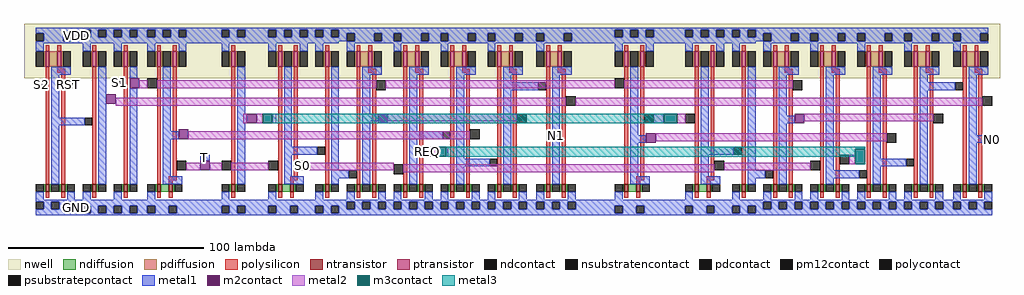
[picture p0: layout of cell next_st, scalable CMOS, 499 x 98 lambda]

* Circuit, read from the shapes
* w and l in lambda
.subckt next_st GND N0 N1 REQ RST S0 S1 S2 T VDD
M1 n2 S2 GND GND nfet w=4 l=2
M2 GND RST n2 GND nfet w=4 l=2
M3 n3 n2 GND GND nfet w=4 l=2
M4 n4 S1 GND GND nfet w=4 l=2
M5 n5 n4 GND GND nfet w=4 l=2
M6 n6 T n5 GND nfet w=4 l=2
M7 n7 T GND GND nfet w=4 l=2
M8 n8 T GND GND nfet w=4 l=2
M9 n9 S0 n8 GND nfet w=4 l=2
M10 n10 n9 GND GND nfet w=4 l=2
M11 n11 n10 GND GND nfet w=4 l=2
M12 GND n4 n11 GND nfet w=4 l=2
M13 n12 S0 GND GND nfet w=4 l=2
M14 GND REQ n12 GND nfet w=4 l=2
M15 n13 n12 GND GND nfet w=4 l=2
M16 GND n6 n13 GND nfet w=4 l=2
M17 n14 n13 GND GND nfet w=4 l=2
M18 GND n11 n14 GND nfet w=4 l=2
M19 N1 n14 GND GND nfet w=4 l=2
M20 GND n3 N1 GND nfet w=4 l=2
M21 n15 n4 GND GND nfet w=4 l=2
M22 n16 n7 n15 GND nfet w=4 l=2
M23 n17 n7 GND GND nfet w=4 l=2
M24 n18 S0 n17 GND nfet w=4 l=2
M25 n19 n18 GND GND nfet w=4 l=2
M26 n20 n19 GND GND nfet w=4 l=2
M27 GND n4 n20 GND nfet w=4 l=2
M28 n21 S0 GND GND nfet w=4 l=2
M29 GND REQ n21 GND nfet w=4 l=2
M30 n22 n21 GND GND nfet w=4 l=2
M31 GND n16 n22 GND nfet w=4 l=2
M32 n23 n22 GND GND nfet w=4 l=2
M33 GND n20 n23 GND nfet w=4 l=2
M34 N0 n23 GND GND nfet w=4 l=2
M35 GND n3 N0 GND nfet w=4 l=2
M36 n24 S2 VDD VDD pfet w=8 l=2
M37 n2 RST n24 VDD pfet w=8 l=2
M38 n3 n2 VDD VDD pfet w=8 l=2
M39 n4 S1 VDD VDD pfet w=8 l=2
M40 n6 n4 VDD VDD pfet w=8 l=2
M41 VDD T n6 VDD pfet w=8 l=2
M42 n7 T VDD VDD pfet w=8 l=2
M43 n9 T VDD VDD pfet w=8 l=2
M44 VDD S0 n9 VDD pfet w=8 l=2
M45 n10 n9 VDD VDD pfet w=8 l=2
M46 n25 n10 VDD VDD pfet w=8 l=2
M47 n11 n4 n25 VDD pfet w=8 l=2
M48 n26 S0 VDD VDD pfet w=8 l=2
M49 n12 REQ n26 VDD pfet w=8 l=2
M50 n27 n12 VDD VDD pfet w=8 l=2
M51 n13 n6 n27 VDD pfet w=8 l=2
M52 n28 n13 VDD VDD pfet w=8 l=2
M53 n14 n11 n28 VDD pfet w=8 l=2
M54 n29 n14 VDD VDD pfet w=8 l=2
M55 N1 n3 n29 VDD pfet w=8 l=2
M56 n16 n4 VDD VDD pfet w=8 l=2
M57 VDD n7 n16 VDD pfet w=8 l=2
M58 n18 n7 VDD VDD pfet w=8 l=2
M59 VDD S0 n18 VDD pfet w=8 l=2
M60 n19 n18 VDD VDD pfet w=8 l=2
M61 n30 n19 VDD VDD pfet w=8 l=2
M62 n20 n4 n30 VDD pfet w=8 l=2
M63 n31 S0 VDD VDD pfet w=8 l=2
M64 n21 REQ n31 VDD pfet w=8 l=2
M65 n32 n21 VDD VDD pfet w=8 l=2
M66 n22 n16 n32 VDD pfet w=8 l=2
M67 n33 n22 VDD VDD pfet w=8 l=2
M68 n23 n20 n33 VDD pfet w=8 l=2
M69 n34 n23 VDD VDD pfet w=8 l=2
M70 N0 n3 n34 VDD pfet w=8 l=2
.ends

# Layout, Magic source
magic
tech scmos
<< nwell >>
rect -78 172 421 200
<< ntransistor >>
rect -67 114 -65 118
rect -59 114 -57 118
rect -43 114 -41 118
rect -27 114 -25 118
rect -10 114 -8 118
rect -4 114 -2 118
rect 28 114 30 118
rect 52 114 54 118
rect 58 114 60 118
rect 76 114 78 118
rect 92 114 94 118
rect 100 114 102 118
rect 116 114 118 118
rect 124 114 126 118
rect 140 114 142 118
rect 148 114 150 118
rect 164 114 166 118
rect 172 114 174 118
rect 189 114 191 118
rect 197 114 199 118
rect 229 114 231 118
rect 235 114 237 118
rect 265 114 267 118
rect 271 114 273 118
rect 289 114 291 118
rect 305 114 307 118
rect 313 114 315 118
rect 329 114 331 118
rect 337 114 339 118
rect 353 114 355 118
rect 361 114 363 118
rect 377 114 379 118
rect 385 114 387 118
rect 402 114 404 118
rect 410 114 412 118
<< ptransistor >>
rect -67 178 -65 186
rect -61 178 -59 186
rect -43 178 -41 186
rect -27 178 -25 186
rect -10 178 -8 186
rect -2 178 0 186
rect 28 178 30 186
rect 52 178 54 186
rect 60 178 62 186
rect 76 178 78 186
rect 92 178 94 186
rect 98 178 100 186
rect 116 178 118 186
rect 122 178 124 186
rect 140 178 142 186
rect 146 178 148 186
rect 164 178 166 186
rect 170 178 172 186
rect 189 178 191 186
rect 195 178 197 186
rect 229 178 231 186
rect 237 178 239 186
rect 265 178 267 186
rect 273 178 275 186
rect 289 178 291 186
rect 305 178 307 186
rect 311 178 313 186
rect 329 178 331 186
rect 335 178 337 186
rect 353 178 355 186
rect 359 178 361 186
rect 377 178 379 186
rect 383 178 385 186
rect 402 178 404 186
rect 408 178 410 186
<< ndiffusion >>
rect -68 114 -67 118
rect -65 114 -64 118
rect -60 114 -59 118
rect -57 114 -56 118
rect -44 114 -43 118
rect -41 114 -40 118
rect -28 114 -27 118
rect -25 114 -24 118
rect -11 114 -10 118
rect -8 114 -4 118
rect -2 114 -1 118
rect 27 114 28 118
rect 30 114 31 118
rect 51 114 52 118
rect 54 114 58 118
rect 60 114 61 118
rect 75 114 76 118
rect 78 114 79 118
rect 91 114 92 118
rect 94 114 95 118
rect 99 114 100 118
rect 102 114 103 118
rect 115 114 116 118
rect 118 114 119 118
rect 123 114 124 118
rect 126 114 127 118
rect 139 114 140 118
rect 142 114 143 118
rect 147 114 148 118
rect 150 114 151 118
rect 163 114 164 118
rect 166 114 167 118
rect 171 114 172 118
rect 174 114 175 118
rect 188 114 189 118
rect 191 114 192 118
rect 196 114 197 118
rect 199 114 200 118
rect 228 114 229 118
rect 231 114 235 118
rect 237 114 238 118
rect 264 114 265 118
rect 267 114 271 118
rect 273 114 274 118
rect 288 114 289 118
rect 291 114 292 118
rect 304 114 305 118
rect 307 114 308 118
rect 312 114 313 118
rect 315 114 316 118
rect 328 114 329 118
rect 331 114 332 118
rect 336 114 337 118
rect 339 114 340 118
rect 352 114 353 118
rect 355 114 356 118
rect 360 114 361 118
rect 363 114 364 118
rect 376 114 377 118
rect 379 114 380 118
rect 384 114 385 118
rect 387 114 388 118
rect 401 114 402 118
rect 404 114 405 118
rect 409 114 410 118
rect 412 114 413 118
<< pdiffusion >>
rect -68 178 -67 186
rect -65 178 -61 186
rect -59 178 -58 186
rect -44 178 -43 186
rect -41 178 -40 186
rect -28 178 -27 186
rect -25 178 -24 186
rect -11 178 -10 186
rect -8 178 -7 186
rect -3 178 -2 186
rect 0 178 1 186
rect 27 178 28 186
rect 30 178 31 186
rect 51 178 52 186
rect 54 178 55 186
rect 59 178 60 186
rect 62 178 63 186
rect 75 178 76 186
rect 78 178 79 186
rect 91 178 92 186
rect 94 178 98 186
rect 100 178 101 186
rect 115 178 116 186
rect 118 178 122 186
rect 124 178 125 186
rect 139 178 140 186
rect 142 178 146 186
rect 148 178 149 186
rect 163 178 164 186
rect 166 178 170 186
rect 172 178 173 186
rect 188 178 189 186
rect 191 178 195 186
rect 197 178 198 186
rect 228 178 229 186
rect 231 178 232 186
rect 236 178 237 186
rect 239 178 240 186
rect 264 178 265 186
rect 267 178 268 186
rect 272 178 273 186
rect 275 178 276 186
rect 288 178 289 186
rect 291 178 292 186
rect 304 178 305 186
rect 307 178 311 186
rect 313 178 314 186
rect 328 178 329 186
rect 331 178 335 186
rect 337 178 338 186
rect 352 178 353 186
rect 355 178 359 186
rect 361 178 362 186
rect 376 178 377 186
rect 379 178 383 186
rect 385 178 386 186
rect 401 178 402 186
rect 404 178 408 186
rect 410 178 411 186
<< ndcontact >>
rect -72 114 -68 118
rect -64 114 -60 118
rect -56 114 -52 118
rect -48 114 -44 118
rect -40 114 -36 118
rect -32 114 -28 118
rect -24 114 -20 118
rect -15 114 -11 118
rect -1 114 3 118
rect 23 114 27 118
rect 31 114 35 118
rect 47 114 51 118
rect 61 114 65 118
rect 71 114 75 118
rect 79 114 83 118
rect 87 114 91 118
rect 95 114 99 118
rect 103 114 107 118
rect 111 114 115 118
rect 119 114 123 118
rect 127 114 131 118
rect 135 114 139 118
rect 143 114 147 118
rect 151 114 155 118
rect 159 114 163 118
rect 167 114 171 118
rect 175 114 179 118
rect 184 114 188 118
rect 192 114 196 118
rect 200 114 204 118
rect 224 114 228 118
rect 238 114 242 118
rect 260 114 264 118
rect 274 114 278 118
rect 284 114 288 118
rect 292 114 296 118
rect 300 114 304 118
rect 308 114 312 118
rect 316 114 320 118
rect 324 114 328 118
rect 332 114 336 118
rect 340 114 344 118
rect 348 114 352 118
rect 356 114 360 118
rect 364 114 368 118
rect 372 114 376 118
rect 380 114 384 118
rect 388 114 392 118
rect 397 114 401 118
rect 405 114 409 118
rect 413 114 417 118
<< pdcontact >>
rect -72 178 -68 186
rect -58 178 -54 186
rect -48 178 -44 186
rect -40 178 -36 186
rect -32 178 -28 186
rect -24 178 -20 186
rect -15 178 -11 186
rect -7 178 -3 186
rect 1 178 5 186
rect 23 178 27 186
rect 31 178 35 186
rect 47 178 51 186
rect 55 178 59 186
rect 63 178 67 186
rect 71 178 75 186
rect 79 178 83 186
rect 87 178 91 186
rect 101 178 105 186
rect 111 178 115 186
rect 125 178 129 186
rect 135 178 139 186
rect 149 178 153 186
rect 159 178 163 186
rect 173 178 177 186
rect 184 178 188 186
rect 198 178 202 186
rect 224 178 228 186
rect 232 178 236 186
rect 240 178 244 186
rect 260 178 264 186
rect 268 178 272 186
rect 276 178 280 186
rect 284 178 288 186
rect 292 178 296 186
rect 300 178 304 186
rect 314 178 318 186
rect 324 178 328 186
rect 338 178 342 186
rect 348 178 352 186
rect 362 178 366 186
rect 372 178 376 186
rect 386 178 390 186
rect 397 178 401 186
rect 411 178 415 186
<< psubstratepcontact >>
rect -72 105 -68 109
rect -64 105 -60 109
rect -56 105 -52 109
rect -48 103 -44 107
rect -40 103 -36 107
rect -32 103 -28 107
rect -24 103 -20 107
rect -15 103 -11 107
rect -4 103 0 107
rect 23 103 27 107
rect 31 103 35 107
rect 47 103 51 107
rect 58 103 62 107
rect 71 103 75 107
rect 79 103 83 107
rect 87 105 91 109
rect 95 105 99 109
rect 103 105 107 109
rect 111 105 115 109
rect 119 105 123 109
rect 127 105 131 109
rect 135 105 139 109
rect 143 105 147 109
rect 151 105 155 109
rect 159 105 163 109
rect 167 105 171 109
rect 175 105 179 109
rect 184 105 188 109
rect 192 105 196 109
rect 200 105 204 109
rect 224 103 228 107
rect 235 103 239 107
rect 260 103 264 107
rect 271 103 275 107
rect 284 103 288 107
rect 292 103 296 107
rect 300 105 304 109
rect 308 105 312 109
rect 316 105 320 109
rect 324 105 328 109
rect 332 105 336 109
rect 340 105 344 109
rect 348 105 352 109
rect 356 105 360 109
rect 364 105 368 109
rect 372 105 376 109
rect 380 105 384 109
rect 388 105 392 109
rect 397 105 401 109
rect 405 105 409 109
rect 413 105 417 109
<< nsubstratencontact >>
rect -72 191 -68 195
rect -58 191 -54 195
rect -48 193 -44 197
rect -40 193 -36 197
rect -32 193 -28 197
rect -24 193 -20 197
rect -15 193 -11 197
rect -7 193 -3 197
rect 1 193 5 197
rect 23 193 27 197
rect 31 193 35 197
rect 47 193 51 197
rect 55 193 59 197
rect 63 193 67 197
rect 71 193 75 197
rect 79 193 83 197
rect 87 191 91 195
rect 101 191 105 195
rect 111 191 115 195
rect 125 191 129 195
rect 135 191 139 195
rect 149 191 153 195
rect 159 191 163 195
rect 173 191 177 195
rect 184 191 188 195
rect 198 191 202 195
rect 224 193 228 197
rect 232 193 236 197
rect 240 193 244 197
rect 260 193 264 197
rect 268 193 272 197
rect 276 193 280 197
rect 284 193 288 197
rect 292 193 296 197
rect 300 191 304 195
rect 314 191 318 195
rect 324 191 328 195
rect 338 191 342 195
rect 348 191 352 195
rect 362 191 366 195
rect 372 191 376 195
rect 386 191 390 195
rect 397 191 401 195
rect 411 191 415 195
<< polysilicon >>
rect -67 186 -65 189
rect -61 186 -59 189
rect -43 186 -41 189
rect -27 186 -25 189
rect -10 186 -8 189
rect -2 186 0 189
rect 28 186 30 189
rect 52 186 54 189
rect 60 186 62 189
rect 76 186 78 189
rect 92 186 94 189
rect 98 186 100 189
rect 116 186 118 189
rect 122 186 124 189
rect 140 186 142 189
rect 146 186 148 189
rect 164 186 166 189
rect 170 186 172 189
rect 189 186 191 189
rect 195 186 197 189
rect 229 186 231 189
rect 237 186 239 189
rect 265 186 267 189
rect 273 186 275 189
rect 289 186 291 189
rect 305 186 307 189
rect 311 186 313 189
rect 329 186 331 189
rect 335 186 337 189
rect 353 186 355 189
rect 359 186 361 189
rect 377 186 379 189
rect 383 186 385 189
rect 402 186 404 189
rect 408 186 410 189
rect -67 118 -65 178
rect -61 177 -59 178
rect -61 175 -57 177
rect -59 118 -57 175
rect -43 118 -41 178
rect -27 118 -25 178
rect -10 118 -8 178
rect -2 122 0 178
rect -4 120 0 122
rect -4 118 -2 120
rect 28 118 30 178
rect 52 118 54 178
rect 60 122 62 178
rect 58 120 62 122
rect 58 118 60 120
rect 76 118 78 178
rect 92 118 94 178
rect 98 177 100 178
rect 98 175 102 177
rect 100 118 102 175
rect 116 118 118 178
rect 122 177 124 178
rect 122 175 126 177
rect 124 118 126 175
rect 140 118 142 178
rect 146 177 148 178
rect 146 175 150 177
rect 148 118 150 175
rect 164 118 166 178
rect 170 177 172 178
rect 170 175 174 177
rect 172 118 174 175
rect 189 118 191 178
rect 195 177 197 178
rect 195 175 199 177
rect 197 118 199 175
rect 229 118 231 178
rect 237 122 239 178
rect 235 120 239 122
rect 235 118 237 120
rect 265 118 267 178
rect 273 122 275 178
rect 271 120 275 122
rect 271 118 273 120
rect 289 118 291 178
rect 305 118 307 178
rect 311 177 313 178
rect 311 175 315 177
rect 313 118 315 175
rect 329 118 331 178
rect 335 177 337 178
rect 335 175 339 177
rect 337 118 339 175
rect 353 118 355 178
rect 359 177 361 178
rect 359 175 363 177
rect 361 118 363 175
rect 377 118 379 178
rect 383 177 385 178
rect 383 175 387 177
rect 385 118 387 175
rect 402 118 404 178
rect 408 177 410 178
rect 408 175 412 177
rect 410 118 412 175
rect -67 111 -65 114
rect -59 111 -57 114
rect -43 111 -41 114
rect -27 111 -25 114
rect -10 111 -8 114
rect -4 111 -2 114
rect 28 111 30 114
rect 52 111 54 114
rect 58 111 60 114
rect 76 111 78 114
rect 92 111 94 114
rect 100 111 102 114
rect 116 111 118 114
rect 124 111 126 114
rect 140 111 142 114
rect 148 111 150 114
rect 164 111 166 114
rect 172 111 174 114
rect 189 111 191 114
rect 197 111 199 114
rect 229 111 231 114
rect 235 111 237 114
rect 265 111 267 114
rect 271 111 273 114
rect 289 111 291 114
rect 305 111 307 114
rect 313 111 315 114
rect 329 111 331 114
rect 337 111 339 114
rect 353 111 355 114
rect 361 111 363 114
rect 377 111 379 114
rect 385 111 387 114
rect 402 111 404 114
rect 410 111 412 114
<< polycontact >>
rect -71 167 -67 171
rect -57 167 -53 171
rect -47 148 -43 152
rect -31 168 -27 172
rect 72 133 76 137
rect 88 121 92 125
rect 136 141 140 145
rect 160 127 164 131
rect 185 166 189 170
rect 285 133 289 137
rect 301 121 305 125
rect 349 121 353 125
rect 373 127 377 131
rect 398 166 402 170
<< metal1 >>
rect -72 197 415 198
rect -72 195 -48 197
rect -68 191 -58 195
rect -54 193 -48 195
rect -44 193 -40 197
rect -36 193 -32 197
rect -28 193 -24 197
rect -20 193 -15 197
rect -11 193 -7 197
rect -3 193 1 197
rect 5 193 23 197
rect 27 193 31 197
rect 35 193 47 197
rect 51 193 55 197
rect 59 193 63 197
rect 67 193 71 197
rect 75 193 79 197
rect 83 195 224 197
rect 83 193 87 195
rect -54 191 87 193
rect 91 191 101 195
rect 105 191 111 195
rect 115 191 125 195
rect 129 191 135 195
rect 139 191 149 195
rect 153 191 159 195
rect 163 191 173 195
rect 177 191 184 195
rect 188 191 198 195
rect 202 193 224 195
rect 228 193 232 197
rect 236 193 240 197
rect 244 193 260 197
rect 264 193 268 197
rect 272 193 276 197
rect 280 193 284 197
rect 288 193 292 197
rect 296 195 415 197
rect 296 193 300 195
rect 202 191 300 193
rect 304 191 314 195
rect 318 191 324 195
rect 328 191 338 195
rect 342 191 348 195
rect 352 191 362 195
rect 366 191 372 195
rect 376 191 386 195
rect 390 191 397 195
rect 401 191 411 195
rect -72 190 83 191
rect 87 190 296 191
rect 300 190 415 191
rect -72 186 -68 190
rect -48 186 -44 190
rect -32 186 -28 190
rect -15 186 -11 190
rect 1 186 5 190
rect 23 186 27 190
rect 47 186 51 190
rect 63 186 67 190
rect 71 186 75 190
rect 87 186 91 190
rect 111 186 115 190
rect 135 186 139 190
rect 159 186 163 190
rect 184 186 188 190
rect 224 186 228 190
rect 240 186 244 190
rect 260 186 264 190
rect 276 186 280 190
rect 284 186 288 190
rect 300 186 304 190
rect 324 186 328 190
rect 348 186 352 190
rect 372 186 376 190
rect 397 186 401 190
rect -64 174 -54 178
rect -64 152 -60 174
rect -64 148 -47 152
rect -64 118 -60 148
rect -40 118 -36 178
rect -24 172 -20 178
rect -24 118 -20 167
rect -7 145 -3 178
rect 31 154 35 178
rect 31 149 36 154
rect -7 141 1 145
rect -7 122 -3 141
rect 12 130 17 133
rect -7 118 3 122
rect 31 118 35 149
rect 55 137 59 178
rect 55 133 72 137
rect 55 122 59 133
rect 79 125 83 178
rect 95 174 105 178
rect 119 174 129 178
rect 143 174 153 178
rect 167 174 177 178
rect 192 174 202 178
rect 95 154 99 174
rect 95 150 103 154
rect 55 118 65 122
rect 79 121 88 125
rect 79 118 83 121
rect 95 118 99 150
rect 119 145 123 174
rect 119 141 136 145
rect 119 118 123 141
rect 143 131 147 174
rect 167 170 171 174
rect 167 166 185 170
rect 143 127 160 131
rect 143 118 147 127
rect 167 118 171 166
rect 192 118 196 174
rect 232 143 236 178
rect 232 139 240 143
rect 232 122 236 139
rect 268 137 272 178
rect 268 133 285 137
rect 268 122 272 133
rect 292 125 296 178
rect 308 174 318 178
rect 332 174 342 178
rect 356 174 366 178
rect 380 174 390 178
rect 405 174 415 178
rect 308 153 312 174
rect 308 149 316 153
rect 232 118 242 122
rect 268 118 278 122
rect 292 121 301 125
rect 292 118 296 121
rect 308 118 312 149
rect 332 125 336 174
rect 356 131 360 174
rect 380 170 384 174
rect 380 166 398 170
rect 356 127 373 131
rect 332 121 349 125
rect 332 118 336 121
rect 356 118 360 127
rect 380 118 384 166
rect 405 143 409 174
rect 405 139 419 143
rect 405 118 409 139
rect -72 110 -68 114
rect -56 110 -52 114
rect -48 110 -44 114
rect -32 110 -28 114
rect -15 110 -11 114
rect 23 110 27 114
rect 47 110 51 114
rect 71 110 75 114
rect 87 110 91 114
rect 103 110 107 114
rect 111 110 115 114
rect 127 110 131 114
rect 135 110 139 114
rect 151 110 155 114
rect 159 110 163 114
rect 175 110 179 114
rect 184 110 188 114
rect 200 110 204 114
rect 224 110 228 114
rect 260 110 264 114
rect 284 110 288 114
rect 300 110 304 114
rect 316 110 320 114
rect 324 110 328 114
rect 340 110 344 114
rect 348 110 352 114
rect 364 110 368 114
rect 372 110 376 114
rect 388 110 392 114
rect 397 110 401 114
rect 413 110 417 114
rect -72 109 417 110
rect -68 105 -64 109
rect -60 105 -56 109
rect -52 107 87 109
rect -52 105 -48 107
rect -72 103 -48 105
rect -44 103 -40 107
rect -36 103 -32 107
rect -28 103 -24 107
rect -20 103 -15 107
rect -11 103 -4 107
rect 0 103 23 107
rect 27 103 31 107
rect 35 103 47 107
rect 51 103 58 107
rect 62 103 71 107
rect 75 103 79 107
rect 83 105 87 107
rect 91 105 95 109
rect 99 105 103 109
rect 107 105 111 109
rect 115 105 119 109
rect 123 105 127 109
rect 131 105 135 109
rect 139 105 143 109
rect 147 105 151 109
rect 155 105 159 109
rect 163 105 167 109
rect 171 105 175 109
rect 179 105 184 109
rect 188 105 192 109
rect 196 105 200 109
rect 204 107 300 109
rect 204 105 224 107
rect 83 103 224 105
rect 228 103 235 107
rect 239 103 260 107
rect 264 103 271 107
rect 275 103 284 107
rect 288 103 292 107
rect 296 105 300 107
rect 304 105 308 109
rect 312 105 316 109
rect 320 105 324 109
rect 328 105 332 109
rect 336 105 340 109
rect 344 105 348 109
rect 352 105 356 109
rect 360 105 364 109
rect 368 105 372 109
rect 376 105 380 109
rect 384 105 388 109
rect 392 105 397 109
rect 401 105 405 109
rect 409 105 413 109
rect 296 103 417 105
rect -72 102 417 103
<< m2contact >>
rect -24 167 -19 172
rect -36 159 -31 164
rect 36 149 41 154
rect 1 141 6 146
rect 12 125 17 130
rect 103 149 108 154
rect 240 139 245 144
rect 316 149 321 154
<< pm12contact >>
rect -15 167 -10 172
rect 0 125 5 130
rect 23 125 28 130
rect 47 125 52 130
rect 62 125 67 130
rect 102 166 107 171
rect 111 123 116 128
rect 126 132 131 137
rect 150 141 155 146
rect 174 149 179 154
rect 224 167 229 172
rect 199 158 204 163
rect 239 149 244 154
rect 260 149 265 154
rect 275 125 280 130
rect 315 166 320 171
rect 324 125 329 130
rect 339 128 344 133
rect 363 139 368 144
rect 387 149 392 154
rect 412 158 417 163
<< metal2 >>
rect -19 167 -15 171
rect -10 167 102 171
rect 107 167 224 171
rect 229 167 315 171
rect -31 158 199 162
rect 204 158 412 162
rect 34 149 36 154
rect 41 149 44 154
rect 49 149 51 154
rect 108 150 174 154
rect 244 149 249 154
rect 256 149 260 154
rect 321 150 387 154
rect 6 141 150 145
rect 245 140 363 144
rect 131 132 133 137
rect 138 132 139 137
rect 5 125 12 129
rect 17 125 23 129
rect 28 125 47 129
rect 67 125 111 129
rect 116 124 275 128
rect 280 125 324 129
rect 344 128 347 133
<< m3contact >>
rect 44 149 49 154
rect 249 149 256 154
rect 133 132 138 137
rect 347 128 352 136
<< metal3 >>
rect 49 149 249 154
rect 138 136 352 137
rect 138 132 347 136
<< labels >>
rlabel polycontact -71 167 -67 171 1 S2
rlabel polycontact -57 167 -53 171 1 RST
rlabel polycontact -31 168 -27 172 1 S1
rlabel metal1 -51 190 -51 198 1 VDD
rlabel metal1 -51 102 -51 110 1 GND
rlabel pm12contact 62 125 67 130 1 S0
rlabel pm12contact 126 132 131 137 1 REQ
rlabel metal1 415 139 419 143 7 N0
rlabel metal1 192 141 196 145 1 N1
rlabel metal1 12 130 17 133 1 T
<< end >>
